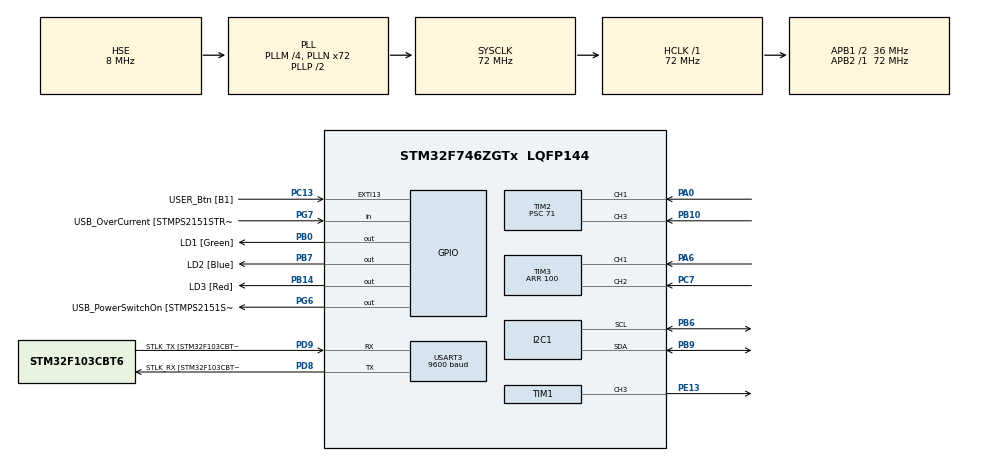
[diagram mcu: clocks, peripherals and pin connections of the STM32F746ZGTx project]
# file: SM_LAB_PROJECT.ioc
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I2C1.Timing=0x00808CD2
Mcu.Family=STM32F7
Mcu.Name=STM32F746ZGTx
Mcu.Package=LQFP144
NVIC.EXTI15_10_IRQn=true\:0\:0\:false\:false\:true\:true\:true
NVIC.PriorityGroup=NVIC_PRIORITYGROUP_4
NVIC.TIM1_UP_TIM10_IRQn=true\:0\:0\:false\:false\:true\:true\:true
NVIC.TIM2_IRQn=true\:0\:0\:false\:false\:true\:true\:true
NVIC.TIM3_IRQn=true\:0\:0\:false\:false\:true\:true\:true
NVIC.USART3_IRQn=true\:0\:0\:false\:false\:true\:true\:true
PA0/WKUP.GPIO_PuPd=GPIO_PULLUP
PA0/WKUP.Signal=S_TIM2_CH1_ETR
PA1.GPIO_Label=RMII_REF_CLK [LAN8742A-CZ-TR_REFCLK0]
PA1.Signal=ETH_REF_CLK
PA10.GPIO_Label=USB_ID
PA10.Signal=USB_OTG_FS_ID
PA11.GPIO_Label=USB_DM
PA11.Signal=USB_OTG_FS_DM
PA12.GPIO_Label=USB_DP
PA12.Signal=USB_OTG_FS_DP
PA13.GPIO_Label=TMS
PA13.Mode=Serial_Wire
PA13.Signal=SYS_JTMS-SWDIO
PA14.GPIO_Label=TCK
PA14.Mode=Serial_Wire
PA14.Signal=SYS_JTCK-SWCLK
PA2.GPIO_Label=RMII_MDIO [LAN8742A-CZ-TR_MDIO]
PA2.Signal=ETH_MDIO
PA6.Signal=S_TIM3_CH1
PA7.GPIO_Label=RMII_CRS_DV [LAN8742A-CZ-TR_CRS_DV]
PA7.Signal=ETH_CRS_DV
PA8.GPIO_Label=USB_SOF [TP1]
PA8.Signal=USB_OTG_FS_SOF
PA9.GPIO_Label=USB_VBUS
PA9.Signal=USB_OTG_FS_VBUS
PB0.GPIO_Label=LD1 [Green]
PB0.Signal=GPIO_Output
PB10.Signal=S_TIM2_CH3
PB13.GPIO_Label=RMII_TXD1 [LAN8742A-CZ-TR_TXD1]
PB13.Signal=ETH_TXD1
PB14.GPIO_Label=LD3 [Red]
PB14.Signal=GPIO_Output
PB3.GPIO_Label=SW0
PB3.Signal=SYS_JTDO-SWO
PB6.Mode=I2C
PB6.Signal=I2C1_SCL
PB7.GPIO_Label=LD2 [Blue]
PB7.Signal=GPIO_Output
PB9.Mode=I2C
PB9.Signal=I2C1_SDA
PC1.GPIO_Label=RMII_MDC [LAN8742A-CZ-TR_MDC]
PC1.Signal=ETH_MDC
PC13.GPIO_Label=USER_Btn [B1]
PC13.Signal=GPXTI13
PC14/OSC32_IN.Mode=LSE-External-Oscillator
PC14/OSC32_IN.Signal=RCC_OSC32_IN
PC15/OSC32_OUT.Mode=LSE-External-Oscillator
PC15/OSC32_OUT.Signal=RCC_OSC32_OUT
PC4.GPIO_Label=RMII_RXD0 [LAN8742A-CZ-TR_RXD0]
PC4.Signal=ETH_RXD0
PC5.GPIO_Label=RMII_RXD1 [LAN8742A-CZ-TR_RXD1]
PC5.Signal=ETH_RXD1
PC7.Signal=S_TIM3_CH2
PD8.GPIO_Label=STLK_RX [STM32F103CBT6_PA3]
PD8.Mode=Asynchronous
PD8.Signal=USART3_TX
PD9.GPIO_Label=STLK_TX [STM32F103CBT6_PA2]
PD9.Mode=Asynchronous
PD9.Signal=USART3_RX
PE13.Signal=S_TIM1_CH3
PG11.GPIO_Label=RMII_TX_EN [LAN8742A-CZ-TR_TXEN]
PG11.Signal=ETH_TX_EN
PG13.GPIO_Label=RMII_TXD0 [LAN8742A-CZ-TR_TXD0]
PG13.Signal=ETH_TXD0
PG6.GPIO_Label=USB_PowerSwitchOn [STMPS2151STR_EN]
PG6.Signal=GPIO_Output
PG7.GPIO_Label=USB_OverCurrent [STMPS2151STR_FAULT]
PG7.Signal=GPIO_Input
PH0/OSC_IN.GPIO_Label=MCO [STM32F103CBT6_PA8]
PH0/OSC_IN.Mode=HSE-External-Clock-Source
PH0/OSC_IN.Signal=RCC_OSC_IN
PH1/OSC_OUT.Mode=HSE-External-Clock-Source
PH1/OSC_OUT.Signal=RCC_OSC_OUT
ProjectManager.HeapSize=0x200
ProjectManager.StackSize=0x400
ProjectManager.TargetToolchain=STM32CubeIDE
RCC.48MHZClocksFreq_Value=24000000
RCC.AHBFreq_Value=72000000
RCC.APB1CLKDivider=RCC_HCLK_DIV2
RCC.APB1Freq_Value=36000000
RCC.APB1TimFreq_Value=72000000
RCC.APB2Freq_Value=72000000
RCC.APB2TimFreq_Value=72000000
RCC.CortexFreq_Value=72000000
RCC.HCLKFreq_Value=72000000
RCC.HSE_VALUE=8000000
RCC.HSI_VALUE=16000000
RCC.PLLM=4
RCC.PLLMUL=RCC_PLL_MUL9
RCC.PLLN=72
RCC.PLLQ=3
RCC.PLLSourceVirtual=RCC_PLLSOURCE_HSE
RCC.PRESCALERUSB=RCC_USBCLKSOURCE_PLL_DIV1_5
RCC.SYSCLKFreq_VALUE=72000000
RCC.SYSCLKSource=RCC_SYSCLKSOURCE_PLLCLK
RCC.SYSCLKSourceVirtual=RCC_SYSCLKSOURCE_PLLCLK
RCC.USBFreq_Value=48000000
RCC.VCOOutputFreq_Value=144000000
SH.S_TIM1_CH3.0=TIM1_CH3,PWM Generation3 CH3
SH.S_TIM2_CH1_ETR.0=TIM2_CH1,Input_Capture1_from_TI1
SH.S_TIM2_CH3.0=TIM2_CH3,Input_Capture3_from_TI3
SH.S_TIM3_CH1.0=TIM3_CH1,Encoder_Interface
SH.S_TIM3_CH2.0=TIM3_CH2,Encoder_Interface
TIM1.Channel-PWM\ Generation3\ CH3=TIM_CHANNEL_3
TIM1.Period=999
TIM1.Prescaler=71
TIM1.Pulse-PWM\ Generation3\ CH3=500
TIM2.Channel-Input_Capture1_from_TI1=TIM_CHANNEL_1
TIM2.Channel-Input_Capture3_from_TI3=TIM_CHANNEL_3
TIM2.Prescaler=71
TIM3.EncoderMode=TIM_ENCODERMODE_TI12
TIM3.Period=100
USART3.BaudRate=9600
USART3.VirtualMode-Asynchronous=VM_ASYNC
VP_TIM1_VS_ClockSourceINT.Mode=Internal
VP_TIM2_VS_ClockSourceINT.Mode=Internal
board=NUCLEO-F746ZG

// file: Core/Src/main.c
/* USER CODE BEGIN Header */
/**
  ******************************************************************************
  * @file           : main.c
  * @brief          : Main program body
  ******************************************************************************
  * @attention
  *
  * <h2><center>&copy; Copyright (c) 2022 STMicroelectronics.
  * All rights reserved.</center></h2>
  *
  * This software component is licensed by ST under BSD 3-Clause license,
  * the "License"; You may not use this file except in compliance with the
  * License. You may obtain a copy of the License at:
  *                        opensource.org/licenses/BSD-3-Clause
  *
  ******************************************************************************
  */
/* USER CODE END Header */
#include "main.h"
#include "i2c.h"
#include "tim.h"
#include "usart.h"
#include "gpio.h"

/* USER CODE BEGIN Includes */
// LCD
#include "lcd_i2c.h"
#include "PID_controller.h"
#include <stdbool.h>
#include <stdio.h>
#include <stdlib.h>
#include <string.h>

/* USER CODE END Includes */

/* USER CODE BEGIN PD */
#define FAN_Kp					0.38101
#define FAN_Ki					8.4524
#define FAN_Kd					0
#define FAN_dt					0.001
#define FAN_ANTI_WINDUP			1000
/* USER CODE END PD */

/* USER CODE BEGIN PV */
uint16_t readADC;
float readADC_f;
const float resolutionADC = 4095.0 / 4.095;

uint16_t duty;

//USART
char msg_str[3];
uint8_t msg_len = 3;
uint16_t size = 0;
char data_msg[62];
uint8_t n = 62;

//Regulator
int u;
int output;

pid_str pid_controller;

//Input Capture
#define TIMCLOCK   72000000
#define PRESCALAR  72
uint32_t IC_Val1 = 0;
uint32_t IC_Val2 = 0;
uint32_t Difference = 0;
int Is_First_Captured = 0;
float frequency = 0;

//Encoder
int counter_usart = 0;
uint16_t counter;

//LCD
struct lcd_disp disp;

/**
  * @brief  Rx Transfer completed callback.
  * @param  huart UART handle.
  * @retval None
  */
void HAL_UART_RxCpltCallback(UART_HandleTypeDef *huart)
{
	if(huart->Instance == USART3)
	{
		HAL_UART_Receive_IT(&huart3, (uint8_t*)msg_str, msg_len);
		HAL_UART_Transmit_IT(&huart3, (uint8_t*)msg_str, msg_len);
		counter_usart = atoi(msg_str);
		__HAL_TIM_SET_COUNTER(&htim3, counter_usart);
	}
}

// INPUT CAPTURE FUNCTION
/**
  * @brief  Period elapsed callback in input capture mode
  * @param  htim TIM handle
  * @retval None
  */
void HAL_TIM_IC_CaptureCallback(TIM_HandleTypeDef *htim)
{
	if (htim->Channel == HAL_TIM_ACTIVE_CHANNEL_1)
	{

		if (Is_First_Captured==0) // if the first rising edge is not captured
		{
			IC_Val1 = HAL_TIM_ReadCapturedValue(htim, TIM_CHANNEL_1); // read the first value
			Is_First_Captured = 1;  // set the first captured as true
		}

		else   // If the first rising edge is captured, now we will capture the second edge
		{
			IC_Val2 = HAL_TIM_ReadCapturedValue(htim, TIM_CHANNEL_1);  // read second value

			if (IC_Val2 > IC_Val1)
			{
				Difference = IC_Val2-IC_Val1;
			}

			else if (IC_Val1 > IC_Val2)
			{
				Difference = (0xffffffff - IC_Val1) + IC_Val2;
			}

			float refClock = TIMCLOCK/(PRESCALAR);

			frequency = refClock/(Difference*2);

			__HAL_TIM_SET_COUNTER(htim, 0);  // reset the counter
			Is_First_Captured = 0; // set it back to false

		}
	}

	  if(output == 0)
	  {
		  frequency = 0;
	  }
}

/**
  * @brief  Period elapsed callback in non-blocking mode
  * @param  htim TIM handle
  * @retval None
  */
void HAL_TIM_PeriodElapsedCallback(TIM_HandleTypeDef *htim)
{
  if(htim->Instance == TIM1)
  {

	  	counter = __HAL_TIM_GET_COUNTER(&htim3);

	  	u = counter;

	  	output = pid_calculate(&(pid_controller), u, frequency);
  		__HAL_TIM_SET_COMPARE(&htim1, TIM_CHANNEL_3, output);

//
  		n = sprintf(data_msg, " U: %4d, V: %.2f, Y: %4d,\r\n", (int)output, frequency, (int)u);
//  		n = sprintf(data_msg, "%.2f\r\n", (int)output, frequency, (int)u);
  		HAL_UART_Transmit_IT(&huart3, (uint8_t*)data_msg, n);
  }
}
/* USER CODE END PV */

void SystemClock_Config(void);

int main(void)
{

  /* MCU Configuration--------------------------------------------------------*/

  /* Reset of all peripherals, Initializes the Flash interface and the Systick. */
  HAL_Init();

  /* Configure the system clock */
  SystemClock_Config();

  /* Initialize all configured peripherals */
  MX_GPIO_Init();
  MX_TIM1_Init();
  MX_TIM2_Init();
  MX_I2C1_Init();
  MX_TIM3_Init();
  MX_USART3_UART_Init();
  /* USER CODE BEGIN 2 */
  HAL_TIM_Base_Start_IT(&htim1);
  HAL_TIM_PWM_Start(&htim1, TIM_CHANNEL_3);

//PID initialize
  pid_init(&(pid_controller), FAN_Kp, FAN_Ki, FAN_Kd, FAN_dt, FAN_ANTI_WINDUP);

// Input Capture initialize
  HAL_TIM_IC_Start_IT(&htim2, TIM_CHANNEL_1);
  HAL_TIM_IC_Start_IT(&htim2, TIM_CHANNEL_3);

//  Encoder initialize
  HAL_TIM_Encoder_Start(&htim3, TIM_CHANNEL_ALL);
//USART receive
  HAL_UART_Receive_IT(&huart3, (uint8_t*)msg_str, msg_len);

  // LCD init

  disp.addr = (0x27 << 1);
  disp.bl = true;

  lcd_init(&disp);

  /* USER CODE END 2 */

  /* Infinite loop */
  /* USER CODE BEGIN WHILE */
  while (1)
  {

	  sprintf((char *)&disp.f_line, "Set Point: %d  ", counter);
	  sprintf((char *)&disp.s_line, "Speed: %.2f  ", frequency);
	  lcd_display(&disp);
	  HAL_Delay(20);
    /* USER CODE END WHILE */

  }
}

void SystemClock_Config(void)
{
  RCC_OscInitTypeDef RCC_OscInitStruct = {0};
  RCC_ClkInitTypeDef RCC_ClkInitStruct = {0};
  RCC_PeriphCLKInitTypeDef PeriphClkInitStruct = {0};

  /** Configure LSE Drive Capability
  */
  HAL_PWR_EnableBkUpAccess();
  /** Configure the main internal regulator output voltage
  */
  __HAL_RCC_PWR_CLK_ENABLE();
  __HAL_PWR_VOLTAGESCALING_CONFIG(PWR_REGULATOR_VOLTAGE_SCALE3);
  /** Initializes the RCC Oscillators according to the specified parameters
  * in the RCC_OscInitTypeDef structure.
  */
  RCC_OscInitStruct.OscillatorType = RCC_OSCILLATORTYPE_HSE;
  RCC_OscInitStruct.HSEState = RCC_HSE_BYPASS;
  RCC_OscInitStruct.PLL.PLLState = RCC_PLL_ON;
  RCC_OscInitStruct.PLL.PLLSource = RCC_PLLSOURCE_HSE;
  RCC_OscInitStruct.PLL.PLLM = 4;
  RCC_OscInitStruct.PLL.PLLN = 72;
  RCC_OscInitStruct.PLL.PLLP = RCC_PLLP_DIV2;
  RCC_OscInitStruct.PLL.PLLQ = 3;
  if (HAL_RCC_OscConfig(&RCC_OscInitStruct) != HAL_OK)
  {
    Error_Handler();
  }
  /** Initializes the CPU, AHB and APB buses clocks
  */
  RCC_ClkInitStruct.ClockType = RCC_CLOCKTYPE_HCLK|RCC_CLOCKTYPE_SYSCLK
                              |RCC_CLOCKTYPE_PCLK1|RCC_CLOCKTYPE_PCLK2;
  RCC_ClkInitStruct.SYSCLKSource = RCC_SYSCLKSOURCE_PLLCLK;
  RCC_ClkInitStruct.AHBCLKDivider = RCC_SYSCLK_DIV1;
  RCC_ClkInitStruct.APB1CLKDivider = RCC_HCLK_DIV2;
  RCC_ClkInitStruct.APB2CLKDivider = RCC_HCLK_DIV1;

  if (HAL_RCC_ClockConfig(&RCC_ClkInitStruct, FLASH_LATENCY_2) != HAL_OK)
  {
    Error_Handler();
  }
  PeriphClkInitStruct.PeriphClockSelection = RCC_PERIPHCLK_USART3|RCC_PERIPHCLK_I2C1;
  PeriphClkInitStruct.Usart3ClockSelection = RCC_USART3CLKSOURCE_PCLK1;
  PeriphClkInitStruct.I2c1ClockSelection = RCC_I2C1CLKSOURCE_PCLK1;
  if (HAL_RCCEx_PeriphCLKConfig(&PeriphClkInitStruct) != HAL_OK)
  {
    Error_Handler();
  }
}

void Error_Handler(void)
{
  __disable_irq();
  while (1)
  {
  }
}

/************************ (C) COPYRIGHT STMicroelectronics *****END OF FILE****/
